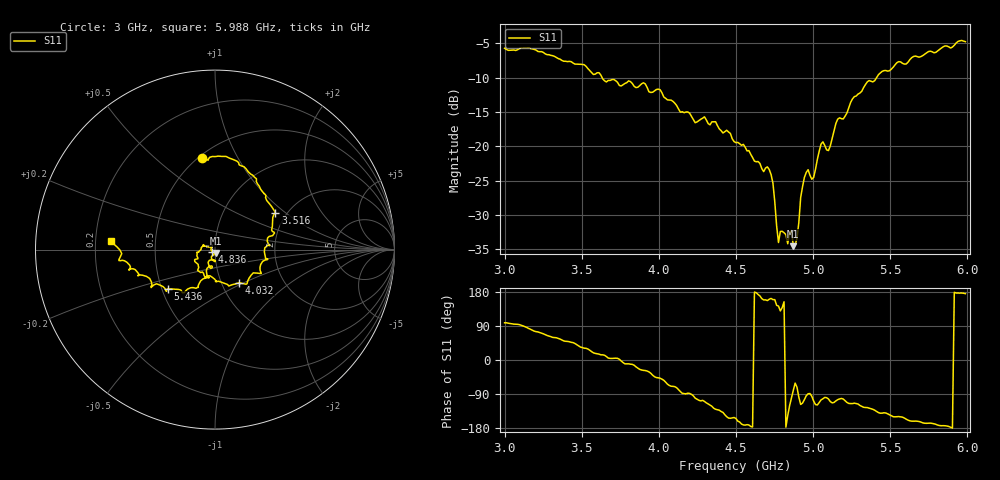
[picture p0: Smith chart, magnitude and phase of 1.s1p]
! Saved from nanovna library
# Hz S RI R 50
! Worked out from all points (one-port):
!   250 points, 3 GHz to 5.988 GHz, reference 50 ohm
!   lowest |S11| = -34.6 dB at 4.872 GHz (marker M1), VSWR 1.04, Z = 50.3 - j1.85 ohm
!   |S11| at or under -10 dB: 3.632 GHz to 5.412 GHz (1.779 GHz wide, 39.4 % of centre)
!   S11 on the Smith chart (normalised r, x): 3 GHz: 0.52, +0.72; 3.516 GHz: 1.75, +0.84; 4.032 GHz: 1.21, -0.47; 4.836 GHz: 0.97, -0.02; 5.436 GHz: 0.54, -0.27; 5.988 GHz: 0.27, +0.04
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3e9  -0.0741 0.5124
3.156e9  0.0614 0.5191
3.384e9  0.266 0.3206
3.516e9  0.3361 0.2037
3.756e9  0.2749 -0.0123
3.9e9  0.2577 -0.1333
4.032e9  0.1362 -0.184
4.128e9  0.0377 -0.1828
4.368e9  -0.097 -0.1157
4.5e9  -0.0957 -0.0461
4.716e9  -0.0638 0.0228
4.74e9  -0.0504 0.019
4.776e9  -0.0157 0.0122
4.8e9  -0.0179 0.016
4.836e9  -0.0163 -0.0107
4.86e9  -0.00428 -0.024
4.872e9  0.00319 -0.0184
4.896e9  0.0067 -0.0204
4.92e9  -0.0195 -0.0378
4.956e9  -0.00491 -0.0643
5.004e9  -0.0186 -0.0563
5.052e9  -0.0274 -0.1001
5.1e9  -0.0208 -0.0908
5.16e9  -0.04 -0.1525
5.244e9  -0.0883 -0.1895
5.436e9  -0.2638 -0.2182
5.616e9  -0.382 -0.1491
5.988e9  -0.5768 0.0483
